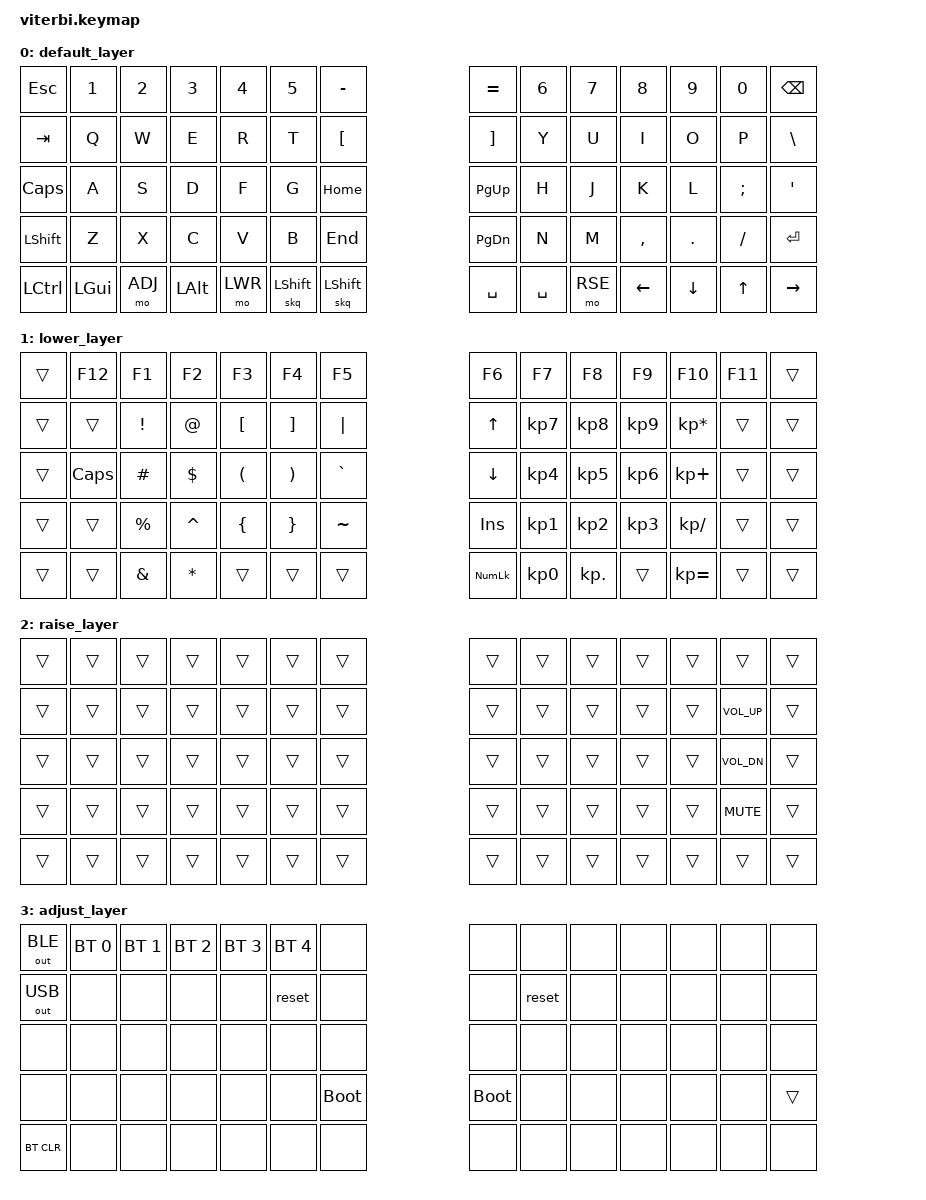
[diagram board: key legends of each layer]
#include <behaviors.dtsi>
#include <dt-bindings/zmk/keys.h>
#include <dt-bindings/zmk/bt.h>
#include <dt-bindings/zmk/outputs.h>

#define DEFAULT 0
#define LWR 1
#define RSE 2
#define ADJ 3

/ {
  behaviors {
    skq: sticky_key_quick_release {
		compatible = "zmk,behavior-sticky-key";
		label = "STICKY_KEY_QUICK_RELEASE";
		#binding-cells = <1>;
		bindings = <&kp>;
		release-after-ms = <500>;
		quick-release;
    };
	pht: positional_hold_tap {
		compatible = "zmk,behavior-hold-tap";
		label = "POSITIONAL_HOLD_TAP";
		#binding-cells = <2>;
		flavor = "hold-preferred";
		tapping-term-ms = <200>;
		quick-tap-ms = <200>;
		bindings = <&kp>, <&kp>;
	};
  };
  
    keymap {
        compatible = "zmk,keymap";

        default_layer {
            bindings = <
               &kp ESC   &kp N1   &kp N2   &kp N3    &kp N4    &kp N5     &kp MINUS                              &kp EQUAL    &kp N6     &kp N7     &kp N8    &kp N9   &kp N0   &kp BSPC   
               &kp TAB   &kp Q    &kp W    &kp E     &kp R     &kp T      &kp LBKT                         		 &kp RBKT     &kp Y      &kp U      &kp I     &kp O    &kp P    &kp BSLH 
               &kp CAPS  &kp A    &kp S    &kp D     &kp F     &kp G      &kp HOME                               &kp PG_UP    &kp H      &kp J      &kp K     &kp L    &kp SEMI &kp SQT    
               &kp LSHFT &kp Z    &kp X    &kp C     &kp V     &kp B      &kp END                                &kp PG_DN    &kp N      &kp M      &kp COMMA &kp DOT  &kp FSLH &kp RET  
               &kp LCTRL &kp LGUI &mo ADJ  &kp LALT   &mo LWR  &skq LSHFT &skq LSHFT                             &kp SPACE    &kp SPACE  &mo RSE  &kp LEFT  &kp DOWN &kp UP   &kp RIGHT  
            >;
        };

        lower_layer {
            bindings = < 
             &trans  &kp F12  &kp F1    &kp F2    &kp F3    &kp F4    &kp F5                                   &kp F6     &kp F7    &kp F8     &kp F9     &kp F10         &kp F11 &trans
             &trans  &trans   &kp EXCL  &kp AT    &kp LBKT &kp RBKT   &kp PIPE                                 &kp UP     &kp KP_N7 &kp KP_N8  &kp KP_N9  &kp KP_ASTERISK &trans  &trans
             &trans  &kp CAPS &kp HASH  &kp DLLR  &kp LPAR &kp RPAR   &kp GRAVE                                &kp DOWN   &kp KP_N4 &kp KP_N5  &kp KP_N6  &kp KP_PLUS     &trans  &trans
             &trans  &trans   &kp PRCNT &kp CARET &kp LBRC &kp RBRC   &kp TILDE                                &kp INS    &kp KP_N1 &kp KP_N2  &kp KP_N3  &kp KP_SLASH    &trans  &trans
             &trans  &trans   &kp AMPS  &kp ASTRK &trans    &trans    &trans                                   &kp KP_NUM &kp KP_N0 &kp KP_DOT    &trans  &kp KP_EQUAL    &trans  &trans
            >;
        };

        raise_layer {
            bindings = <
             &trans  &trans    &trans      &trans    &trans    &trans    &trans                                &trans    &trans   &trans    &trans   &trans   &trans        &trans
             &trans  &trans    &trans      &trans    &trans    &trans    &trans                                &trans    &trans   &trans    &trans   &trans   &kp K_VOL_UP  &trans
             &trans  &trans    &trans      &trans    &trans    &trans    &trans                                &trans    &trans   &trans    &trans   &trans   &kp K_VOL_DN  &trans
             &trans  &trans    &trans      &trans    &trans    &trans    &trans                                &trans    &trans   &trans    &trans   &trans   &kp K_MUTE    &trans
             &trans  &trans    &trans      &trans    &trans    &trans    &trans                                &trans    &trans   &trans    &trans   &trans   &trans        &trans
             >;
        };

        adjust_layer {
            bindings = <
            &out OUT_BLE &bt BT_SEL 0 &bt BT_SEL 1 &bt BT_SEL 2 &bt BT_SEL 3 &bt BT_SEL 4 &none                      &none &none  &none &none &none &none &none
            &out OUT_USB     &none    &none        &none        &none        &reset       &none                      &none &reset &none &none &none &none &none
            &none            &none    &none        &none        &none        &none        &none                      &none &none  &none &none &none &none &none
            &none            &none    &none        &none        &none        &none        &bootloader          &bootloader &none  &none &none &none &none &trans
            &bt BT_CLR       &none    &none        &none        &none        &none        &none                      &none &none  &none &none &none &none &none
                                  >;
        };
    };
};

// / {
//    conditional_layers {
//        compatible = "zmk,conditional-layers";
//        tri_layer {
//            if-layers = <LWR RSE>;
//            then-layer = <ADJ>;
//        };
//    };
// }; 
